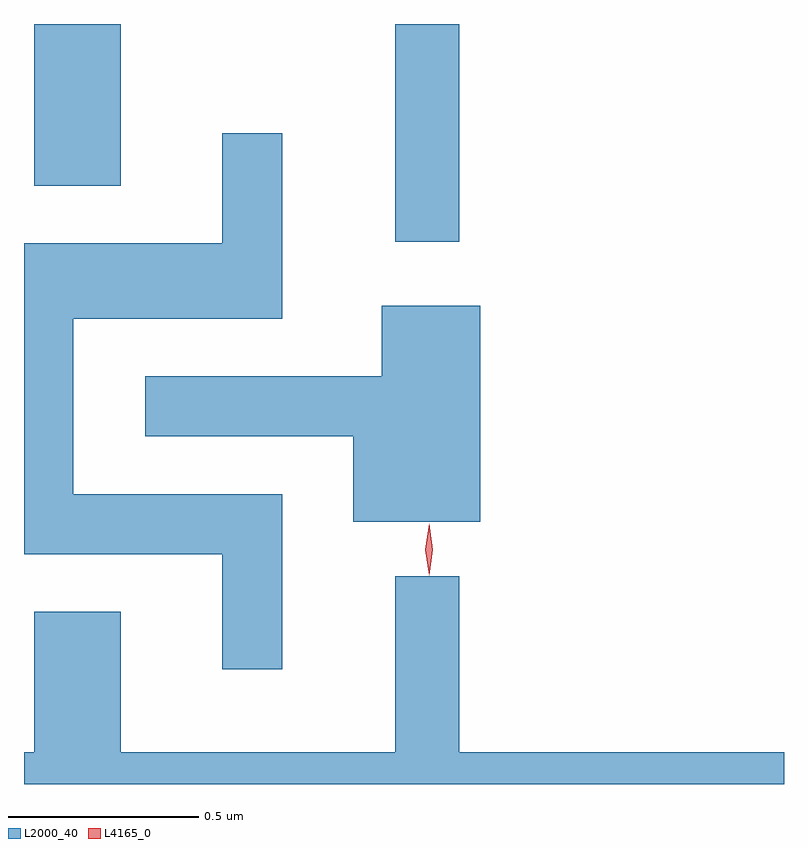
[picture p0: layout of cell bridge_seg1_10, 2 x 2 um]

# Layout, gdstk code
import gdstk
lib = gdstk.Library(unit=1e-6, precision=1e-09)
def R(c, l, rs):  # rectangles x0, y0, x1, y1
    for r in rs: c.add(gdstk.rectangle(r[:2], r[2:], *l))
def P(c, l, *ps):  # polygons
    for p in ps: c.add(gdstk.Polygon(p, *l))
L2000_40 = (2000, 40)
L4165_0 = (4165, 0)

bridge_seg1_10 = lib.new_cell('bridge_seg1_10')
R(bridge_seg1_10, L2000_40, [(1562.441,941.148,1562.609,941.721), (1561.491,941.296,1561.719,941.721)])
P(bridge_seg1_10, L2000_40, [(1562.144,940.484),(1561.594,940.484),(1561.594,940.946),(1562.144,940.946),(1562.144,941.433),(1561.986,941.433),(1561.986,941.144),(1561.464,941.144),(1561.464,940.326),(1561.986,940.326),(1561.986,940.023),(1562.144,940.023)],
  [(1562.664,940.979),(1562.406,940.979),(1562.406,940.794),(1561.783,940.794),(1561.783,940.636),(1562.331,940.636),(1562.331,940.411),(1562.664,940.411)],
  [(1563.464,939.804),(1562.609,939.804),(1562.609,940.268),(1562.441,940.268),(1562.441,939.804),(1561.719,939.804),(1561.719,940.174),(1561.491,940.174),(1561.491,939.804),(1561.464,939.804),(1561.464,939.721),(1563.464,939.721)])
P(bridge_seg1_10, L4165_0, [(1562.53,940.27),(1562.53,940.27),(1562.52,940.338),(1562.53,940.406),(1562.531,940.406),(1562.531,940.406),(1562.54,940.338),(1562.53,940.27)])

lib.write_gds('bridge_seg1_10.gds')
